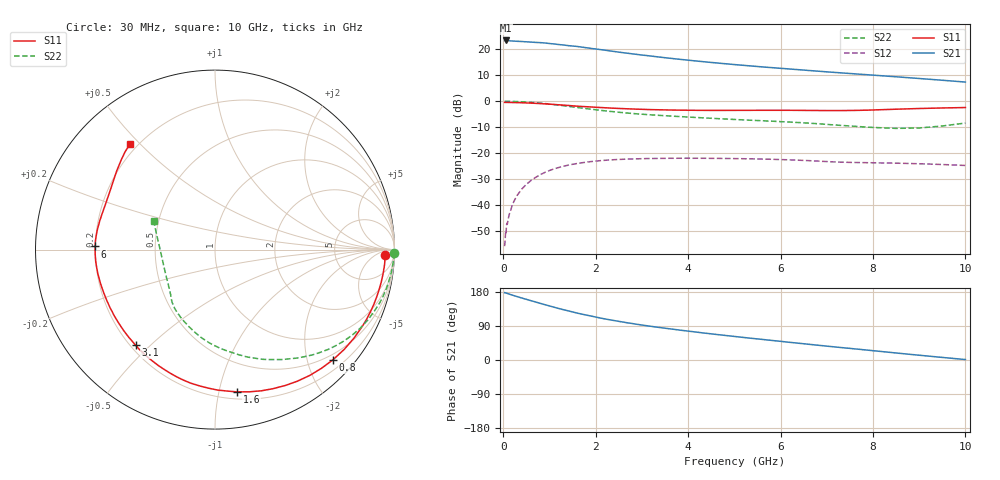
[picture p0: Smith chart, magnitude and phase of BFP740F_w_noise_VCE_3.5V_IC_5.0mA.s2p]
! Infineon Technologies  Discrete & RF Semiconductors
! BFP740F
! VCE =  3.5 V,  IC =  5.0 mA
! Common Emitter S-Parameters:  Oct 2012
# GHz  S  MA  R  50
!  f  S11  S21  S12  S22
! GHz  MAG  ANG  MAG  ANG  MAG  ANG  MAG  ANG
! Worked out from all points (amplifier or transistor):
!   99 points, 30 MHz to 10 GHz, reference 50 ohm
!   highest |S21| = 23.4 dB at 50 MHz (marker M1)
!   |S21| within 3 dB of that: start of sweep to 1.875 GHz
!   unconditionally stable (mu >= 1): 7.514 GHz to end of sweep
!   at 350 MHz: K = 0.04, MSG = 29.1 dB, |S12| = -35.1 dB
!   at 3.5 GHz: K = 0.33, MSG = 19.4 dB, |S12| = -22.1 dB
!   at 10 GHz: K = 1.30, MAG = 12.8 dB, |S12| = -24.8 dB
!   lowest NFmin = 0.37 dB at 450 MHz
!   S11 on the Smith chart (normalised r, x): 30 MHz: 29, -16; 800 MHz: 0.39, -2.48; 1.6 GHz: 0.26, -1.14; 3.1 GHz: 0.22, -0.45; 6 GHz: 0.20, +0.01; 10 GHz: 0.17, +0.47
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0.03  0.9491 -1.7  14.69 177.8  0.0016 90.6  0.9961 -1.1
0.05  0.949 -2.7  14.84 177.2  0.0029 89.4  0.9965 -1.8
0.2  0.9437 -11.1  14.48 171.1  0.0102 82.4  0.9905 -7.4
0.45  0.9297 -24.5  14.06 161.8  0.0224 74.8  0.9699 -16.3
0.8  0.8993 -43.1  13.49 149.5  0.0382 63.8  0.9195 -28.5
0.9  0.8882 -48.2  13.27 146.0  0.0423 60.8  0.9009 -31.9
1.1  0.8649 -58.0  12.7 139.3  0.0496 54.6  0.8605 -38.4
1.3  0.8395 -67.4  12.14 132.8  0.0557 49.1  0.8182 -44.5
1.6  0.8025 -81.1  11.38 123.8  0.0629 41.7  0.7569 -53.0
1.7  0.791 -85.1  11.04 121.1  0.0649 39.3  0.7364 -55.7
2.1  0.7562 -100.4  9.898 110.8  0.0713 31.0  0.6671 -66.4
2.3  0.7395 -107.1  9.362 106.2  0.0735 27.3  0.6372 -71.0
2.7  0.7124 -119.0  8.391 97.9  0.0764 21.1  0.5891 -79.1
3.1  0.6925 -129.7  7.601 90.5  0.0783 15.9  0.5533 -86.4
3.4  0.6821 -136.6  7.068 85.5  0.0789 12.4  0.5315 -91.1
3.8  0.6727 -145.1  6.455 79.2  0.0794 8.3  0.5067 -96.4
4.3  0.6664 -154.7  5.813 71.8  0.0793 3.9  0.4781 -102.7
5.1  0.6665 -168.4  5.001 60.8  0.078 -2.3  0.44 -112.0
6  0.6681 178.5  4.306 49.3  0.0749 -8.4  0.4038 -122.4
6.7  0.6623 167.6  3.861 40.4  0.0707 -12.1  0.3728 -130.3
8.5  0.7007 141.5  2.957 18.5  0.0638 -14.7  0.299 -163.8
10  0.7547 128.9  2.338 1.2  0.0576 -16.8  0.3787 154.7
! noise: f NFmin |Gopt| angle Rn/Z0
0.45  0.37  0.38  7  0.2
0.9  0.42  0.38  14  0.17
1.5  0.5  0.37  24  0.14
1.9  0.55  0.35  33  0.14
2.4  0.61  0.33  42  0.13
3.5  0.76  0.31  65  0.12
5.5  1.02  0.2  113  0.15
10  1.55  0.42  -127  0.08
